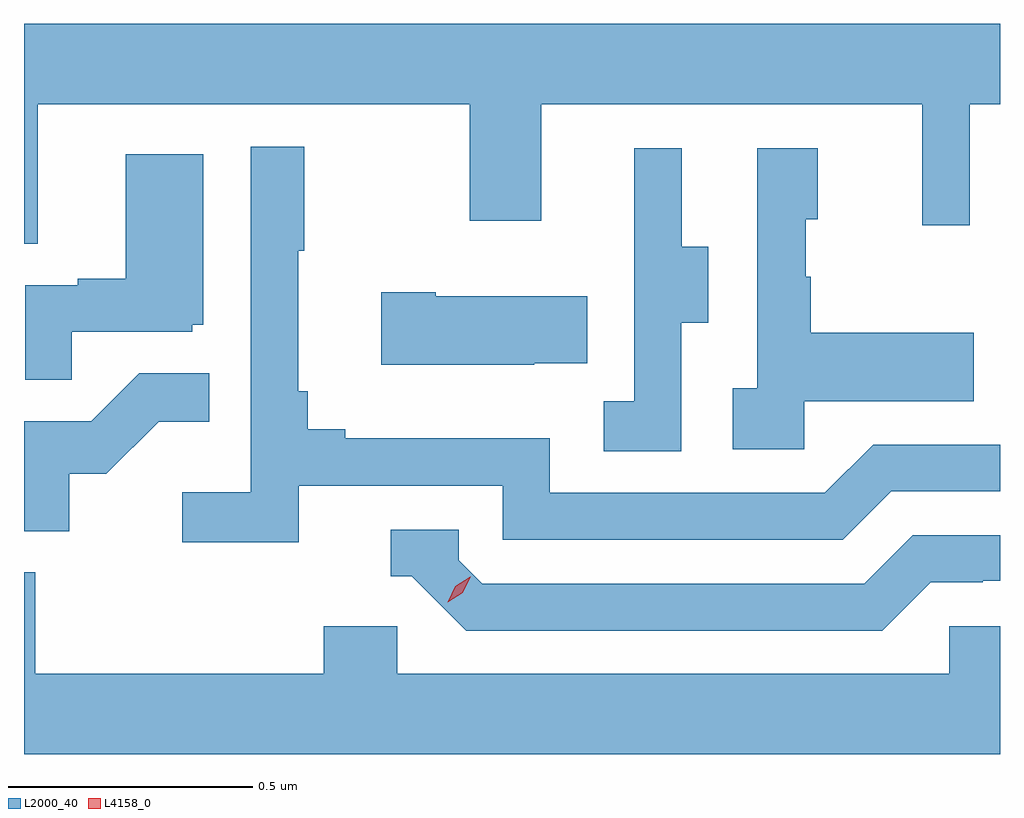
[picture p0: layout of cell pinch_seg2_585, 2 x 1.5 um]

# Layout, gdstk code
import gdstk
lib = gdstk.Library(unit=1e-6, precision=1e-09)
def P(c, l, *ps):  # polygons
    for p in ps: c.add(gdstk.Polygon(p, *l))
L2000_40 = (2000, 40)
L4158_0 = (4158, 0)

pinch_seg2_585 = lib.new_cell('pinch_seg2_585')
P(pinch_seg2_585, L2000_40, [(1080.469,606.344),(1081.354,606.344),(1081.354,606.105),(1081.501,606.105),(1081.501,606.344),(1082.282,606.344),(1082.282,606.096),(1082.379,606.096),(1082.379,606.344),(1082.441,606.344),(1082.441,606.508),(1080.441,606.508),(1080.441,606.058),(1080.469,606.058)],
  [(1081.004,605.562),(1081.422,605.562),(1081.422,605.451),(1082.119,605.451),(1082.218,605.55),(1082.441,605.55),(1082.441,605.646),(1082.181,605.646),(1082.082,605.547),(1081.518,605.547),(1081.518,605.659),(1081.099,605.659),(1081.099,605.678),(1081.022,605.678),(1081.022,605.755),(1081.003,605.755),(1081.003,606.043),(1081.015,606.043),(1081.015,606.256),(1080.906,606.256),(1080.906,605.548),(1080.765,605.548),(1080.765,605.446),(1081.004,605.446)],
  [(1082.04,605.735),(1082.387,605.735),(1082.387,605.875),(1082.053,605.875),(1082.053,605.99),(1082.043,605.99),(1082.043,606.108),(1082.068,606.108),(1082.068,606.253),(1081.944,606.253),(1081.944,605.762),(1081.893,605.762),(1081.893,605.637),(1082.04,605.637)],
  [(1081.788,605.896),(1081.843,605.896),(1081.843,606.051),(1081.789,606.051),(1081.789,606.253),(1081.691,606.253),(1081.691,606.039),(1081.692,606.039),(1081.692,605.735),(1081.629,605.735),(1081.629,605.632),(1081.788,605.632)],
  [(1080.539,605.877),(1080.786,605.877),(1080.786,605.892),(1080.808,605.892),(1080.808,606.241),(1080.65,606.241),(1080.65,605.986),(1080.551,605.986),(1080.551,605.973),(1080.444,605.973),(1080.444,605.779),(1080.539,605.779)],
  [(1081.487,605.813),(1081.595,605.813),(1081.595,605.95),(1081.285,605.95),(1081.285,605.958),(1081.173,605.958),(1081.173,605.81),(1081.487,605.81)],
  [(1080.534,605.586),(1080.61,605.586),(1080.717,605.693),(1080.821,605.693),(1080.821,605.792),(1080.677,605.792),(1080.579,605.694),(1080.441,605.694),(1080.441,605.469),(1080.534,605.469)],
  [(1082.299,605.364),(1082.406,605.364),(1082.406,605.367),(1082.441,605.367),(1082.441,605.46),(1082.262,605.46),(1082.163,605.361),(1081.38,605.361),(1081.332,605.409),(1081.332,605.472),(1081.193,605.472),(1081.193,605.376),(1081.236,605.376),(1081.347,605.265),(1082.2,605.265)],
  [(1080.441,605.384),(1080.441,605.012),(1082.441,605.012),(1082.441,605.274),(1082.337,605.274),(1082.337,605.176),(1081.206,605.176),(1081.206,605.274),(1081.055,605.274),(1081.055,605.176),(1080.464,605.176),(1080.464,605.384)])
P(pinch_seg2_585, L4158_0, [(1081.309,605.323),(1081.309,605.323),(1081.325,605.356),(1081.355,605.375),(1081.356,605.375),(1081.356,605.375),(1081.34,605.342),(1081.309,605.323)])

lib.write_gds('pinch_seg2_585.gds')
